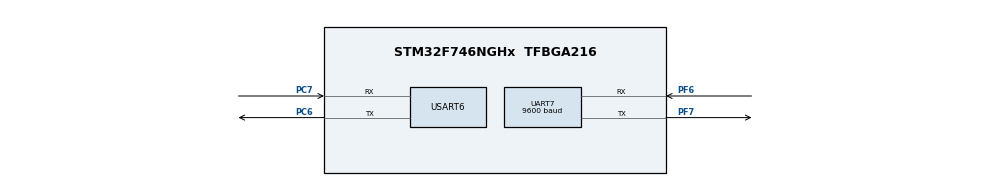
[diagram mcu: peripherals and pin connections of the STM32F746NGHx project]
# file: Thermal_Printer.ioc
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Dma.Request0=UART7_RX
Dma.Request1=UART7_TX
Dma.UART7_RX.0.Direction=DMA_PERIPH_TO_MEMORY
Dma.UART7_RX.0.FIFOMode=DMA_FIFOMODE_DISABLE
Dma.UART7_RX.0.Instance=DMA1_Stream3
Dma.UART7_RX.0.MemDataAlignment=DMA_MDATAALIGN_BYTE
Dma.UART7_RX.0.MemInc=DMA_MINC_ENABLE
Dma.UART7_RX.0.Mode=DMA_NORMAL
Dma.UART7_RX.0.PeriphDataAlignment=DMA_PDATAALIGN_BYTE
Dma.UART7_RX.0.PeriphInc=DMA_PINC_DISABLE
Dma.UART7_RX.0.Priority=DMA_PRIORITY_LOW
Dma.UART7_TX.1.Direction=DMA_MEMORY_TO_PERIPH
Dma.UART7_TX.1.FIFOMode=DMA_FIFOMODE_DISABLE
Dma.UART7_TX.1.Instance=DMA1_Stream1
Dma.UART7_TX.1.MemDataAlignment=DMA_MDATAALIGN_BYTE
Dma.UART7_TX.1.MemInc=DMA_MINC_ENABLE
Dma.UART7_TX.1.Mode=DMA_NORMAL
Dma.UART7_TX.1.PeriphDataAlignment=DMA_PDATAALIGN_BYTE
Dma.UART7_TX.1.PeriphInc=DMA_PINC_DISABLE
Dma.UART7_TX.1.Priority=DMA_PRIORITY_LOW
Mcu.Family=STM32F7
Mcu.Name=STM32F746NGHx
Mcu.Package=TFBGA216
NVIC.DMA1_Stream1_IRQn=true\:0\:0\:false\:false\:true\:false\:true\:true
NVIC.DMA1_Stream3_IRQn=true\:0\:0\:false\:false\:true\:false\:true\:true
NVIC.PriorityGroup=NVIC_PRIORITYGROUP_4
NVIC.USART6_IRQn=true\:0\:0\:false\:false\:true\:true\:true\:true
PC6.Mode=Asynchronous
PC6.Signal=USART6_TX
PC7.Mode=Asynchronous
PC7.Signal=USART6_RX
PF6.Mode=Asynchronous
PF6.Signal=UART7_RX
PF7.Mode=Asynchronous
PF7.Signal=UART7_TX
ProjectManager.HeapSize=0x200
ProjectManager.StackSize=0x400
ProjectManager.TargetToolchain=Makefile
RCC.HSE_VALUE=25000000
RCC.HSI_VALUE=16000000
RCC.LSE_VALUE=32768
RCC.USBFreq_Value=96000000
RCC.VCOOutputFreq_Value=192000000
UART7.BaudRate=9600
USART6.VirtualMode-Asynchronous=VM_ASYNC
board=custom

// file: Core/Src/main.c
/* USER CODE BEGIN Header */
/**
  ******************************************************************************
  * @file           : main.c
  * @brief          : Main program body
  ******************************************************************************
  * @attention
  *
  * Copyright (c) 2024 STMicroelectronics.
  * All rights reserved.
  *
  * This software is licensed under terms that can be found in the LICENSE file
  * in the root directory of this software component.
  * If no LICENSE file comes with this software, it is provided AS-IS.
  *
  ******************************************************************************
  */
/* USER CODE END Header */
#include "main.h"
#include "dma.h"
#include "usart.h"
#include "gpio.h"

/* USER CODE BEGIN PM */
#define HAL_UART_Transmit_DMA_STATIC(first, static_arr) do { HAL_UART_Transmit_DMA((first), static_arr, sizeof(static_arr)); } while(0)

#define M_USART6_CR1 (volatile uint32_t*)(uintptr_t) (USART6_BASE + 0x00) // Control register 1
#define M_USART6_CR2 (volatile uint32_t*)(uintptr_t) (USART6_BASE + 0x04) // Control register 2
#define M_USART6_BRR (volatile uint32_t*)(uintptr_t) (USART6_BASE + 0x0C) // Baud rate register
#define M_USART6_ISR (volatile uint32_t*)(uintptr_t) (USART6_BASE + 0x1C) // Interrupt and status register
#define M_USART6_TDR (volatile uint32_t*)(uintptr_t) (USART6_BASE + 0x28) // Transmit data register

#define UART_BAUDRATE 115200
#define FREQUENCY 25000000
/* USER CODE END PM */

/* USER CODE BEGIN PV */
  const	uint8_t b = 0xB2;
	uint8_t cat1[] =
"                        _\n"
"                       | \\\n"
"                       | |\n"
"                       | |\n"
"  |\\                   | |\n"
" /, ~\\                / /\n"
"X     `-.....-------./ /\n"
" ~-. ~  ~              |\n"
"    \\             /    |\n"
"     \\  /_     ___\\   /\n"
"     | /\\ ~~~~~   \\ |\n"
"     | | \\        || |\n"
"     | |\\ \\       || )\n"
"    (_/ (_/      ((_/\n";

	uint8_t cat2[] =
"       _\n"
"       \\`*-.\n"
"        )  _`-.\n"
"       .  : `. .\n"
"       : _   '  \\\n"
"       ; *` _.   `*-._\n"
"       `-.-'          `-.\n"
"         ;       `       `.\n"
"         :.       .        \\\n"
"         . \\  .   :   .-'   .\n"
"         '  `+.;  ;  '      :\n"
"         :  '  |    ;       ;-.\n"
"         ; '   : :`-:     _.`* ;\n"
"      .*' /  .*' ; .*`- +'  `*'\n"
"      `*-*   `*-*  `*-*';\n";

uint8_t cat3[] =
"                                               .--.\n"
"                                               `.  \\\n"
"                                                 \\  \\\n"
"                                                  .  \\\n"
"                                                  :   .\n"
"                                                  |    .\n"
"                                                  |    :\n"
"                                                  |    |\n"
"  ..._  ___                                       |    |\n"
" `."".`''''""--..___                              |    |\n"
" ,-\\  \\             ""-...__         _____________/    |\n"
" / ` \" '                    `\"\"\"\"\"\"\"\"                  .\n"
" \\                                                      L\n"
" (>                                                      \\\n"
"/                                                         \\\n"
"\\_    ___..---.                                            L\n"
"  `--'         '.                                           \\\n"
"                 .                                           \\_\n"
"                _/`.                                           `.._\n"
"             .'     -.                                             `.\n"
"            /     __.-Y     /''''''-...___,...--------.._            |\n"
"           /   _.\"    |    /                ' .      \\   '---..._    |\n"
"          /   /      /    /                _,. '    ,/           |   |\n"
"          \\_,'     _.'   /              /''     _,-'            _|   |\n"
"                  '     /               `-----''               /     |\n"
"                  `...-'                                       `...-'\n";

uint8_t sonic[] =
"          .,\n"
".      _,'f----.._\n"
"|\\ ,-'\"/  |     ,'\n"
"|,_  ,--.      /\n"
"/,-. ,'`.     (_\n"
"f  o|  o|__     \"`-.\n"
",-._.,--'_ `.   _.,-`\n"
"`\"' ___.,'` j,-'\n"
"  `-.__.,--'";

	uint8_t letters[] = {'a', 'b', 'c', 'd', 'e', 'f', 'g', 'h', '\n'};
	uint8_t cmd_set_cyrillic[] = {0x1B, 0x50, 0x02};
	uint8_t cmd_set_ibm[] = {0x1B, 0x50, 0x01};
	uint8_t message[] = "test\n";

	uint8_t new_line [] = " \n";
	uint8_t data_reset[] = {0x1B, 0x40};
	uint8_t data_print[] = {0x1B, 0x4A, 0xF4};
	uint8_t data_init[] = {0x1B, 0x5B, 0x09, 0x0A};
	uint8_t data_set_mode[] = {0x1B, 0x21, 0x09};
	uint8_t data_begin_print[] = {0x0D, 0x0A};
	uint8_t data_end[] = {0x1B, 0x56, 0x58};
/* USER CODE END PV */

void SystemClock_Config(void);
/* USER CODE BEGIN PFP */
void HAL_UART_IDLE_Callback (UART_HandleTypeDef *huart);
/* USER CODE END PFP */

/* USER CODE BEGIN 0 */
void uart_send_byte(char sym)
{
    // Wait for TXE:
    while ((*M_USART6_ISR & (1U <<  7U)) == 0U);

    // Put data into DR:
    *M_USART6_TDR = sym;
}

void print_string(const char* buf)
{
    for (size_t i = 0; buf[i] != '\0'; i++)
    {
        uart_send_byte(buf[i]);
    }
    //uart_send_byte('\n');
    //uart_send_byte('\r');
}

void seek_string_end(char* buf)
{
  size_t i;
  for (size_t i = 0; buf[i] != '\0'; i++){}

  buf[i+1] = '\n';
}

#define BUFSIZE 100 // здесь указать размер буфера нужного размера
uint8_t buffer[BUFSIZE] = {0,};

void M_CLEAN_BUF(char* buf)
{
  for (int i = 0; i < BUFSIZE; i++)
  {
      buf[i] = 0;
  }
}

// Функция обробатывает IDLE флаг.  Для того чтобы эта функци работала , нужно  добавить  изменения в
// Drivers/STM32F1xx_HAL_Driver/Inc/stm32f1xx_hal_uart.h
// Drivers/STM32F1xx_HAL_Driver/Src/stm32f1xx_hal_uart.c

void HAL_UART_IDLE_Callback(UART_HandleTypeDef *huart) {
    //print_string("IDLE CALLBACK");
    if (huart == &huart6) {
        // Функция вызываетс если буфер не доконца заполнен
        __HAL_UART_DISABLE_IT(&huart6, UART_IT_IDLE);
        //HAL_UART_Transmit_IT(&huart6, buffer, BUFSIZE);
        // uint8_t res = HAL_UART_Transmit_IT(&huart6, (uint8_t *) "ERR_LEN", 7);
        // if (res == HAL_ERROR) {
        //     HAL_UART_Transmit(&huart6, (uint8_t *) "ERR_HAL", 7, 1000);
        // } else if (res == HAL_BUSY) {
        //     HAL_UART_Transmit(&huart6, (uint8_t *) "ERR_BUSY", 8, 1000);
        // } else if (res == HAL_OK) {

        // } else {
        //     HAL_UART_Transmit(&huart6, (uint8_t *) "ERR_ALL", 7, 1000);
        // }
        //HAL_UART_Transmit_IT(&huart6, buffer, BUFSIZE);
        HAL_UART_AbortReceive(&huart6);
        __HAL_UART_CLEAR_IDLEFLAG(&huart6);
        __HAL_UART_ENABLE_IT(&huart6, UART_IT_IDLE);
        HAL_UART_Receive_IT(&huart6, (uint8_t *) buffer, BUFSIZE);
        seek_string_end(buffer);

        HAL_UART_Transmit_DMA_STATIC(&huart7, buffer);
        print_string(buffer);
        M_CLEAN_BUF(buffer);
    }
}

// /////////////////////////////////// полный буфер ///////////////////////////////////////
// void HAL_UART_RxCpltCallback(UART_HandleTypeDef *huart) {
//     if (huart == &huart6) {
//         // Функция вызывается если буфер заполнен, здесь мы обрабатываем  и парсим то что пришло
//         __HAL_UART_DISABLE_IT(&huart6, UART_IT_IDLE);
//         if (strcmp((char *) buffer, "1-0") == 0) {
//             HAL_GPIO_WritePin(GPIOA, GPIO_PIN_1, GPIO_PIN_RESET);
//             HAL_UART_Transmit_IT(&huart6, (uint8_t *) "OK", 2);

//         } else if (strcmp((char *) buffer, "1-1") == 0) {
//             HAL_GPIO_WritePin(GPIOA, GPIO_PIN_1, GPIO_PIN_SET);
//             HAL_UART_Transmit_IT(&huart6, (uint8_t *) "OK", 2);

//         } else if (strcmp((char *) buffer, "2-0") == 0) {
//             HAL_GPIO_WritePin(GPIOA, GPIO_PIN_2, GPIO_PIN_RESET);
//             HAL_UART_Transmit_IT(&huart6, (uint8_t *) "OK", 2);

//         } else if (strcmp((char *) buffer, "2-1") == 0) {
//             HAL_GPIO_WritePin(GPIOA, GPIO_PIN_2, GPIO_PIN_SET);
//             HAL_UART_Transmit_IT(&huart6, (uint8_t *) "OK", 2);

//         } else if (strcmp((char *) buffer, "3-0") == 0) {
//             HAL_GPIO_WritePin(GPIOA, GPIO_PIN_3, GPIO_PIN_RESET);
//             HAL_UART_Transmit_IT(&huart6, (uint8_t *) "OK", 2);

//         } else if (strcmp((char *) buffer, "3-1") == 0) {
//             HAL_GPIO_WritePin(GPIOA, GPIO_PIN_3, GPIO_PIN_SET);
//             HAL_UART_Transmit_IT(&huart6, (uint8_t *) "OK", 2);

//         } else if (strcmp((char *) buffer, "4-0") == 0) {
//             HAL_GPIO_WritePin(GPIOA, GPIO_PIN_4, GPIO_PIN_RESET);
//             HAL_UART_Transmit_IT(&huart6, (uint8_t *) "OK", 2);

//         } else if (strcmp((char *) buffer, "4-1") == 0) {
//             HAL_GPIO_WritePin(GPIOA, GPIO_PIN_4, GPIO_PIN_SET);
//             HAL_UART_Transmit_IT(&huart6, (uint8_t *) "OK", 2);

//         } else {
//             HAL_UART_Transmit_IT(&huart6, buffer, BUFSIZE);
//         }

//         HAL_UART_AbortReceive(&huart6);
//         __HAL_UART_CLEAR_IDLEFLAG(&huart6);
//         __HAL_UART_ENABLE_IT(&huart6, UART_IT_IDLE);
//         //HAL_UART_Receive_IT(&huart6, (uint8_t *) buffer, BUFSIZE);
//     }
// }

void HAL_UART_ErrorCallback(UART_HandleTypeDef *huart) {
    // Здесь мы обрабатываем ошибку  отправки UART
    if (huart == &huart6) {
        __HAL_UART_DISABLE_IT(&huart6, UART_IT_IDLE);
        uint32_t er = HAL_UART_GetError(&huart6);
        HAL_UART_Abort_IT(&huart6);

        switch (er) {
            case HAL_UART_ERROR_PE:
                HAL_UART_Transmit(&huart6, (uint8_t *) "ERR_PARITY", 10, 1000);
                __HAL_UART_CLEAR_PEFLAG(&huart6);
                huart->ErrorCode = HAL_UART_ERROR_NONE;
                break;

            case HAL_UART_ERROR_NE:
                HAL_UART_Transmit(&huart6, (uint8_t *) "ERR_NOISE", 9, 1000);
                __HAL_UART_CLEAR_NEFLAG(&huart6);
                huart->ErrorCode = HAL_UART_ERROR_NONE;
                break;

            case HAL_UART_ERROR_FE:
                HAL_UART_Transmit(&huart6, (uint8_t *) "ERR_FRAME", 9, 1000);
                __HAL_UART_CLEAR_FEFLAG(&huart6);
                huart->ErrorCode = HAL_UART_ERROR_NONE;
                break;

            case HAL_UART_ERROR_ORE:
                HAL_UART_Transmit(&huart6, (uint8_t *) "ERR_OVERRUN", 11, 1000);
                __HAL_UART_CLEAR_OREFLAG(huart);
                huart->ErrorCode = HAL_UART_ERROR_NONE;
                break;

            case HAL_UART_ERROR_DMA:
                HAL_UART_Transmit(&huart6, (uint8_t *) "ERR_DMA", 7, 1000);
                huart->ErrorCode = HAL_UART_ERROR_NONE;
                break;
            default:
                break;
        }
    }

}

/* USER CODE END 0 */

int main(void)
{

  /* MCU Configuration--------------------------------------------------------*/

  /* Reset of all peripherals, Initializes the Flash interface and the Systick. */
  HAL_Init();

  /* Configure the system clock */
  SystemClock_Config();

  /* Initialize all configured peripherals */
  MX_GPIO_Init();
  MX_DMA_Init();
  MX_UART7_Init();
  MX_USART6_UART_Init();
  /* USER CODE BEGIN 2 */

	uint8_t buff[1] = {' '};

	// HAL_UART_Transmit_DMA(&huart7, cat3, sizeof(cat3));
	//HAL_UART_Transmit_DMA_STATIC(&huart7, message);

   // Включаем флаг IDLE
  __HAL_UART_ENABLE_IT(&huart6, UART_IT_IDLE);
  // Включаем прерывание
  // HAL_UART_Receive_IT(&huart6, (uint8_t *) buffer, BUFSIZE);

  // print_string("\n");

  //print_string("INITED");

  /* USER CODE END 2 */

  /* Infinite loop */
  /* USER CODE BEGIN WHILE */
  while (1)
  {
    HAL_UART_Receive_IT(&huart6, (uint8_t *) buffer, BUFSIZE);

    //HAL_UART_Transmit_DMA_STATIC(&huart7, buffer);
    //M_CLEAN_BUF(buffer);

    /* USER CODE END WHILE */

  }
}

void SystemClock_Config(void)
{
  RCC_OscInitTypeDef RCC_OscInitStruct = {0};
  RCC_ClkInitTypeDef RCC_ClkInitStruct = {0};

  /** Configure the main internal regulator output voltage
  */
  __HAL_RCC_PWR_CLK_ENABLE();
  __HAL_PWR_VOLTAGESCALING_CONFIG(PWR_REGULATOR_VOLTAGE_SCALE3);

  /** Initializes the RCC Oscillators according to the specified parameters
  * in the RCC_OscInitTypeDef structure.
  */
  RCC_OscInitStruct.OscillatorType = RCC_OSCILLATORTYPE_HSI;
  RCC_OscInitStruct.HSIState = RCC_HSI_ON;
  RCC_OscInitStruct.HSICalibrationValue = RCC_HSICALIBRATION_DEFAULT;
  RCC_OscInitStruct.PLL.PLLState = RCC_PLL_NONE;
  if (HAL_RCC_OscConfig(&RCC_OscInitStruct) != HAL_OK)
  {
    Error_Handler();
  }

  /** Initializes the CPU, AHB and APB buses clocks
  */
  RCC_ClkInitStruct.ClockType = RCC_CLOCKTYPE_HCLK|RCC_CLOCKTYPE_SYSCLK
                              |RCC_CLOCKTYPE_PCLK1|RCC_CLOCKTYPE_PCLK2;
  RCC_ClkInitStruct.SYSCLKSource = RCC_SYSCLKSOURCE_HSI;
  RCC_ClkInitStruct.AHBCLKDivider = RCC_SYSCLK_DIV1;
  RCC_ClkInitStruct.APB1CLKDivider = RCC_HCLK_DIV1;
  RCC_ClkInitStruct.APB2CLKDivider = RCC_HCLK_DIV1;

  if (HAL_RCC_ClockConfig(&RCC_ClkInitStruct, FLASH_LATENCY_0) != HAL_OK)
  {
    Error_Handler();
  }
}

void Error_Handler(void)
{
  __disable_irq();
  while (1)
  {
  }
}
